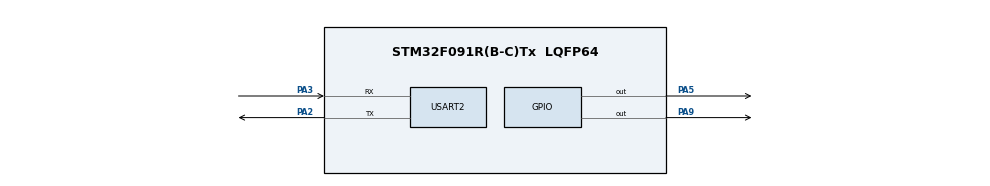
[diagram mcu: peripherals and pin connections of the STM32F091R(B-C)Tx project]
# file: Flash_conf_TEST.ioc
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FREERTOS.Tasks01=defaultTask,24,128,StartDefaultTask,Default,NULL,Dynamic,NULL,NULL
FREERTOS.configTOTAL_HEAP_SIZE=16384
FREERTOS.configUSE_PREEMPTION=1
Mcu.Family=STM32F0
Mcu.Name=STM32F091R(B-C)Tx
Mcu.Package=LQFP64
NVIC.TIM1_BRK_UP_TRG_COM_IRQn=true\:0\:0\:false\:false\:true\:false\:false\:true
NVIC.TimeBase=TIM1_BRK_UP_TRG_COM_IRQn
NVIC.TimeBaseIP=TIM1
NVIC.USART2_IRQn=true\:3\:0\:false\:false\:true\:true\:true\:true
PA2.Mode=Asynchronous
PA2.Signal=USART2_TX
PA3.Mode=Asynchronous
PA3.Signal=USART2_RX
PA5.Signal=GPIO_Output
PA9.Signal=GPIO_Output
ProjectManager.HeapSize=0x200
ProjectManager.StackSize=0x400
ProjectManager.TargetToolchain=STM32CubeIDE
USART2.VirtualMode-Asynchronous=VM_ASYNC
VP_FREERTOS_VS_CMSIS_V2.Mode=CMSIS_V2
VP_SYS_VS_tim1.Mode=TIM1
board=custom

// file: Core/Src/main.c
/* USER CODE BEGIN Header */
/**
  ******************************************************************************
  * @file           : main.c
  * @brief          : Main program body
  ******************************************************************************
  * @attention
  *
  * <h2><center>&copy; Copyright (c) 2021 STMicroelectronics.
  * All rights reserved.</center></h2>
  *
  * This software component is licensed by ST under Ultimate Liberty license
  * SLA0044, the "License"; You may not use this file except in compliance with
  * the License. You may obtain a copy of the License at:
  *                             www.st.com/SLA0044
  *
  ******************************************************************************
  */
/* USER CODE END Header */
#include "main.h"
#include "cmsis_os.h"

/* USER CODE BEGIN Includes */
#include "shell.h"
/* USER CODE END Includes */

UART_HandleTypeDef huart2;

/* Definitions for defaultTask */
osThreadId_t defaultTaskHandle;
const osThreadAttr_t defaultTask_attributes = {
  .name = "defaultTask",
  .priority = (osPriority_t) osPriorityNormal,
  .stack_size = 2048
};

/* USER CODE BEGIN PV */
shell_configuration_t shell_cfg = {
		.uart = &huart2,
		.commands = NULL,
		.stack_size = 1024,
		.priority = 7,
		.rtc = NULL,
		.history_buffer_size = 256,
		.app_title = "TEST FC"
};
/* USER CODE END PV */

void SystemClock_Config(void);
static void MX_GPIO_Init(void);
static void MX_USART2_UART_Init(void);
void StartDefaultTask(void *argument);

int main(void)
{

  /* MCU Configuration--------------------------------------------------------*/

  /* Reset of all peripherals, Initializes the Flash interface and the Systick. */
  HAL_Init();

  /* Configure the system clock */
  SystemClock_Config();

  /* Initialize all configured peripherals */
  MX_GPIO_Init();
  MX_USART2_UART_Init();
  /* USER CODE BEGIN 2 */
  sh_init(&shell_cfg);
  /* USER CODE END 2 */

  /* Init scheduler */
  osKernelInitialize();

  /* Create the thread(s) */
  /* creation of defaultTask */
  defaultTaskHandle = osThreadNew(StartDefaultTask, NULL, &defaultTask_attributes);

  /* Start scheduler */
  osKernelStart();

  /* We should never get here as control is now taken by the scheduler */
  /* Infinite loop */
  while (1)
  {

  }
}

void SystemClock_Config(void)
{
  RCC_OscInitTypeDef RCC_OscInitStruct = {0};
  RCC_ClkInitTypeDef RCC_ClkInitStruct = {0};
  RCC_PeriphCLKInitTypeDef PeriphClkInit = {0};

  /** Initializes the RCC Oscillators according to the specified parameters
  * in the RCC_OscInitTypeDef structure.
  */
  RCC_OscInitStruct.OscillatorType = RCC_OSCILLATORTYPE_HSI;
  RCC_OscInitStruct.HSIState = RCC_HSI_ON;
  RCC_OscInitStruct.HSICalibrationValue = RCC_HSICALIBRATION_DEFAULT;
  RCC_OscInitStruct.PLL.PLLState = RCC_PLL_NONE;
  if (HAL_RCC_OscConfig(&RCC_OscInitStruct) != HAL_OK)
  {
    Error_Handler();
  }
  /** Initializes the CPU, AHB and APB buses clocks
  */
  RCC_ClkInitStruct.ClockType = RCC_CLOCKTYPE_HCLK|RCC_CLOCKTYPE_SYSCLK
                              |RCC_CLOCKTYPE_PCLK1;
  RCC_ClkInitStruct.SYSCLKSource = RCC_SYSCLKSOURCE_HSI;
  RCC_ClkInitStruct.AHBCLKDivider = RCC_SYSCLK_DIV1;
  RCC_ClkInitStruct.APB1CLKDivider = RCC_HCLK_DIV1;

  if (HAL_RCC_ClockConfig(&RCC_ClkInitStruct, FLASH_LATENCY_0) != HAL_OK)
  {
    Error_Handler();
  }
  PeriphClkInit.PeriphClockSelection = RCC_PERIPHCLK_USART2;
  PeriphClkInit.Usart2ClockSelection = RCC_USART2CLKSOURCE_PCLK1;
  if (HAL_RCCEx_PeriphCLKConfig(&PeriphClkInit) != HAL_OK)
  {
    Error_Handler();
  }
}

static void MX_USART2_UART_Init(void)
{

  huart2.Instance = USART2;
  huart2.Init.BaudRate = 115200;
  huart2.Init.WordLength = UART_WORDLENGTH_8B;
  huart2.Init.StopBits = UART_STOPBITS_1;
  huart2.Init.Parity = UART_PARITY_NONE;
  huart2.Init.Mode = UART_MODE_TX_RX;
  huart2.Init.HwFlowCtl = UART_HWCONTROL_NONE;
  huart2.Init.OverSampling = UART_OVERSAMPLING_16;
  huart2.Init.OneBitSampling = UART_ONE_BIT_SAMPLE_DISABLE;
  huart2.AdvancedInit.AdvFeatureInit = UART_ADVFEATURE_NO_INIT;
  if (HAL_UART_Init(&huart2) != HAL_OK)
  {
    Error_Handler();
  }

}

static void MX_GPIO_Init(void)
{
  GPIO_InitTypeDef GPIO_InitStruct = {0};

  /* GPIO Ports Clock Enable */
  __HAL_RCC_GPIOA_CLK_ENABLE();

  /*Configure GPIO pin Output Level */
  HAL_GPIO_WritePin(GPIOA, GPIO_PIN_5|GPIO_PIN_9, GPIO_PIN_RESET);

  /*Configure GPIO pins : PA5 PA9 */
  GPIO_InitStruct.Pin = GPIO_PIN_5|GPIO_PIN_9;
  GPIO_InitStruct.Mode = GPIO_MODE_OUTPUT_PP;
  GPIO_InitStruct.Pull = GPIO_NOPULL;
  GPIO_InitStruct.Speed = GPIO_SPEED_FREQ_LOW;
  HAL_GPIO_Init(GPIOA, &GPIO_InitStruct);

}

/* USER CODE BEGIN 4 */
void HAL_UART_RxCpltCallback(UART_HandleTypeDef *huart) {
        if (huart == &huart2) {
                sh_receive_complete(huart);
                return;
        }
}
/* USER CODE END 4 */

void StartDefaultTask(void *argument)
{
  /* USER CODE BEGIN 5 */
	  test_start();
  /* Infinite loop */
  for(;;)
  {
	HAL_GPIO_WritePin(GPIOA, GPIO_PIN_9, 1);
    osDelay(100 / portTICK_PERIOD_MS);
    HAL_GPIO_WritePin(GPIOA, GPIO_PIN_9, 0);
    osDelay(900 / portTICK_PERIOD_MS);
  }
  /* USER CODE END 5 */
}

 /**
  * @brief  Period elapsed callback in non blocking mode
  * @note   This function is called  when TIM1 interrupt took place, inside
  * HAL_TIM_IRQHandler(). It makes a direct call to HAL_IncTick() to increment
  * a global variable "uwTick" used as application time base.
  * @param  htim : TIM handle
  * @retval None
  */
void HAL_TIM_PeriodElapsedCallback(TIM_HandleTypeDef *htim)
{
  if (htim->Instance == TIM1) {
    HAL_IncTick();
  }
}

void Error_Handler(void)
{
  __disable_irq();
  while (1)
  {
  }
}

/************************ (C) COPYRIGHT STMicroelectronics *****END OF FILE****/
